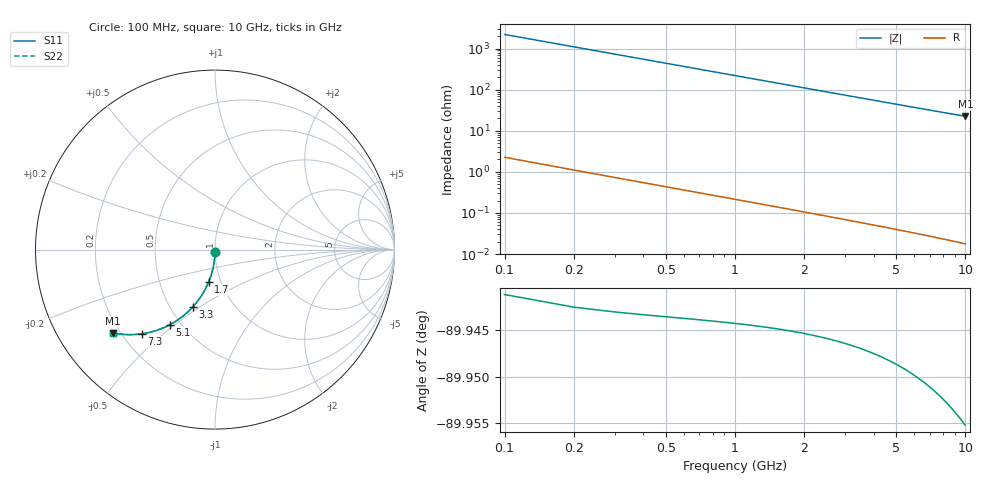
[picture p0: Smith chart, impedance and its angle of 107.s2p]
# Hz S RI R 50.00
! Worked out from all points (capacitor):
!   100 points, 100 MHz to 10 GHz, reference 50 ohm
!   read as one part in shunt: C = 721 fF near 100 MHz
!   lowest |Z| = 22.5 ohm at 10 GHz (marker M1)
!   S11 on the Smith chart (normalised r, x): 100 MHz: 1.00, -0.02; 1.7 GHz: 0.87, -0.33; 3.3 GHz: 0.65, -0.47; 5.1 GHz: 0.44, -0.48; 7.3 GHz: 0.28, -0.43; 10 GHz: 0.17, -0.35
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1e8  5.91e-05 -0.011  0.9997 -0.0116  0.9997 -0.0116  5.91e-05 -0.011
2e8  -0.000335 -0.022  0.9993 -0.0232  0.9993 -0.0232  -0.000335 -0.022
3e8  -0.000985 -0.033  0.9986 -0.0348  0.9986 -0.0348  -0.000985 -0.033
4e8  -0.00189 -0.044  0.9977 -0.0464  0.9977 -0.0464  -0.00189 -0.044
5e8  -0.00305 -0.055  0.9965 -0.0579  0.9965 -0.0579  -0.00305 -0.055
6e8  -0.00446 -0.0659  0.9951 -0.0694  0.9951 -0.0694  -0.00446 -0.0659
8e8  -0.00802 -0.0875  0.9916 -0.0922  0.9916 -0.0922  -0.00802 -0.0875
9e8  -0.0102 -0.0982  0.9894 -0.1035  0.9894 -0.1035  -0.0102 -0.0982
1.1e9  -0.0152 -0.1194  0.9844 -0.1259  0.9844 -0.1259  -0.0152 -0.1194
1.4e9  -0.0245 -0.1505  0.9751 -0.1588  0.9751 -0.1588  -0.0245 -0.1505
1.7e9  -0.0357 -0.1806  0.9638 -0.1907  0.9638 -0.1907  -0.0357 -0.1806
1.8e9  -0.0399 -0.1904  0.9596 -0.2011  0.9596 -0.2011  -0.0399 -0.1904
2.1e9  -0.0536 -0.2189  0.9459 -0.2314  0.9459 -0.2314  -0.0536 -0.2189
2.5e9  -0.0743 -0.2548  0.9252 -0.2696  0.9252 -0.2696  -0.0743 -0.2548
3.3e9  -0.1229 -0.3183  0.8765 -0.3379  0.8765 -0.3379  -0.1229 -0.3183
3.4e9  -0.1295 -0.3254  0.8699 -0.3457  0.8699 -0.3457  -0.1295 -0.3254
4.2e9  -0.1852 -0.3757  0.8141 -0.4007  0.8141 -0.4007  -0.1852 -0.3757
5.1e9  -0.2513 -0.4183  0.7477 -0.4487  0.7477 -0.4487  -0.2513 -0.4183
6.7e9  -0.3678 -0.4618  0.6309 -0.5019  0.6309 -0.5019  -0.3678 -0.4618
7.3e9  -0.409 -0.4694  0.5896 -0.5131  0.5896 -0.5131  -0.409 -0.4694
8.4e9  -0.4791 -0.4738  0.5192 -0.5243  0.5192 -0.5243  -0.4791 -0.4738
1e10  -0.5673 -0.4646  0.4304 -0.5249  0.4304 -0.5249  -0.5673 -0.4646
